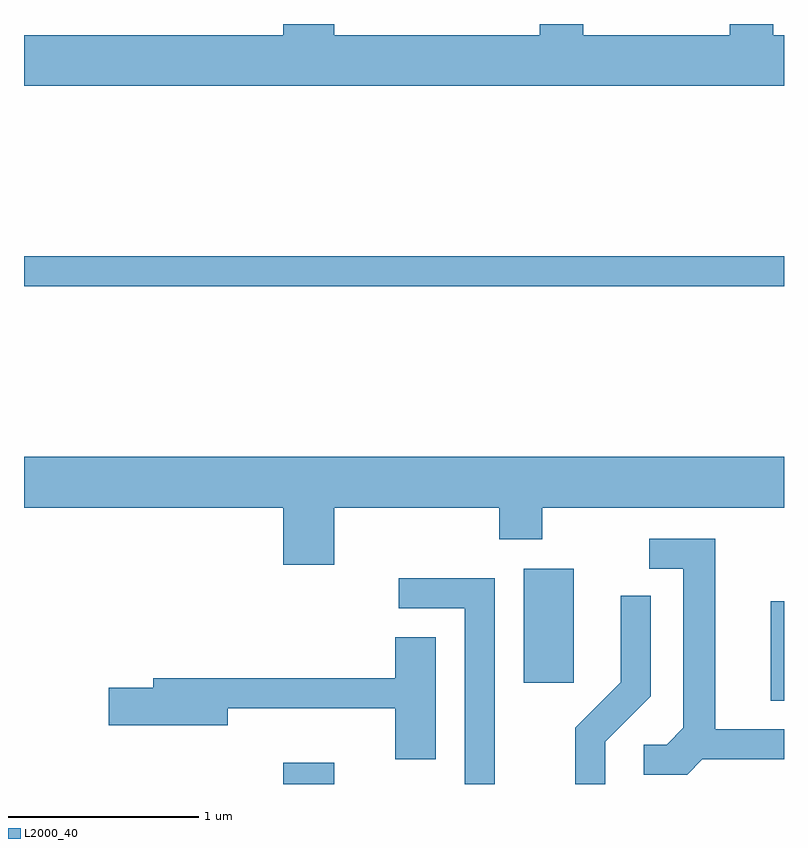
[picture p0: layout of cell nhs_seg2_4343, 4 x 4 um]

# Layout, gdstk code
import gdstk
lib = gdstk.Library(unit=1e-6, precision=1e-09)
def R(c, l, rs):  # rectangles x0, y0, x1, y1
    for r in rs: c.add(gdstk.rectangle(r[:2], r[2:], *l))
def P(c, l, *ps):  # polygons
    for p in ps: c.add(gdstk.Polygon(p, *l))
L2000_40 = (2000, 40)

nhs_seg2_4343 = lib.new_cell('nhs_seg2_4343')
R(nhs_seg2_4343, L2000_40, [(314.976,995.802,315.244,995.914), (317.541,996.241,317.611,996.764), (316.241,996.336,316.504,996.934), (313.611,998.421,317.611,998.579)])
P(nhs_seg2_4343, L2000_40, [(317.611,999.744),(317.554,999.744),(317.554,999.802),(317.326,999.802),(317.326,999.744),(316.554,999.744),(316.554,999.802),(316.326,999.802),(316.326,999.744),(315.244,999.744),(315.244,999.802),(314.976,999.802),(314.976,999.744),(313.611,999.744),(313.611,999.476),(317.611,999.476)],
  [(315.244,997.256),(316.111,997.256),(316.111,997.091),(316.339,997.091),(316.339,997.256),(317.611,997.256),(317.611,997.524),(313.611,997.524),(313.611,997.256),(314.976,997.256),(314.976,996.956),(315.244,996.956)],
  [(317.182,995.931),(317.611,995.931),(317.611,996.089),(317.249,996.089),(317.249,997.094),(316.903,997.094),(316.903,996.936),(317.081,996.936),(317.081,996.097),(316.994,996.009),(316.873,996.009),(316.873,995.851),(317.102,995.851)],
  [(316.089,996.884),(315.583,996.884),(315.583,996.726),(315.931,996.726),(315.931,995.802),(316.089,995.802)],
  [(316.669,996.024),(316.909,996.264),(316.909,996.793),(316.751,996.793),(316.751,996.337),(316.511,996.097),(316.511,995.802),(316.669,995.802)],
  [(315.779,996.574),(315.566,996.574),(315.566,996.359),(314.291,996.359),(314.291,996.309),(314.056,996.309),(314.056,996.111),(314.684,996.111),(314.684,996.201),(315.566,996.201),(315.566,995.931),(315.779,995.931)])

lib.write_gds('nhs_seg2_4343.gds')
